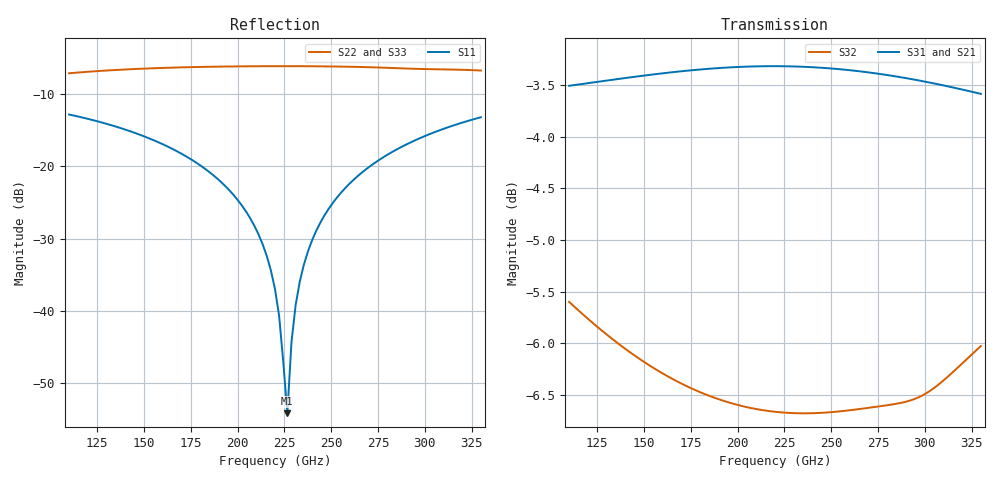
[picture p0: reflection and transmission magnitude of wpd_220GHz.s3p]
#  GHZ S DB R 50
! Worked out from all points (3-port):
!   101 points, 110 GHz to 330 GHz, reference 50 ohm
!   strongest paths, dB at 110 GHz, 165 GHz, 220 GHz, 275 GHz, 330 GHz:
!     S31: -3.5, -3.4, -3.3, -3.4, -3.6
!     S21: -3.5, -3.4, -3.3, -3.4, -3.6
!     S32: -5.6, -6.3, -6.7, -6.6, -6.0
!   lowest |S11| = -54.1 dB at 226.6 GHz (marker M1), VSWR 1.00, Z = 50.2 - j0.0953 ohm
!   |S11| at or under -10 dB: start of sweep to end of sweep
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110  -12.88 134.7  -3.51 -43.7  -3.51 -43.7
     -3.51 -43.7  -7.19 52.9  -5.60 -96.4
     -3.51 -43.7  -5.60 -96.4  -7.20 52.8
187  -21.25 102.2  -3.34 -75.6  -3.34 -75.6
     -3.34 -75.6  -6.28 10.7  -6.52 -153.7
     -3.34 -75.6  -6.52 -153.7  -6.29 10.6
209  -28.25 91.4  -3.32 -85.0  -3.32 -85.0
     -3.32 -85.0  -6.22 0.8  -6.63 -169.5
     -3.32 -85.0  -6.63 -169.5  -6.23 0.7
220  -36.99 82.2  -3.32 -89.7  -3.32 -89.7
     -3.32 -89.7  -6.21 -3.9  -6.66 -177.4
     -3.32 -89.7  -6.66 -177.4  -6.22 -4.1
226.6  -54.12 -28.9  -3.32 -92.5  -3.32 -92.5
       -3.32 -92.5  -6.21 -6.8  -6.67 177.8
       -3.32 -92.5  -6.67 177.8  -6.22 -6.9
228.8  -44.32 -77.3  -3.32 -93.4  -3.32 -93.5
       -3.32 -93.4  -6.21 -7.7  -6.67 176.2
       -3.32 -93.5  -6.67 176.2  -6.22 -7.9
233.2  -35.99 -89.8  -3.32 -95.3  -3.32 -95.4
       -3.32 -95.3  -6.21 -9.6  -6.68 173.0
       -3.32 -95.4  -6.68 173.0  -6.22 -9.8
248.6  -25.92 -100.7  -3.34 -101.9  -3.34 -102.0
       -3.34 -101.9  -6.24 -16.2  -6.67 161.9
       -3.34 -102.0  -6.67 161.9  -6.25 -16.4
279.4  -18.54 -114.9  -3.40 -115.1  -3.40 -115.2
       -3.40 -115.1  -6.43 -29.8  -6.60 139.5
       -3.40 -115.2  -6.60 139.5  -6.43 -29.9
330  -13.26 -136.3  -3.58 -136.3  -3.58 -136.4
     -3.58 -136.3  -6.81 -54.2  -6.02 102.8
     -3.58 -136.4  -6.02 102.8  -6.79 -54.4
